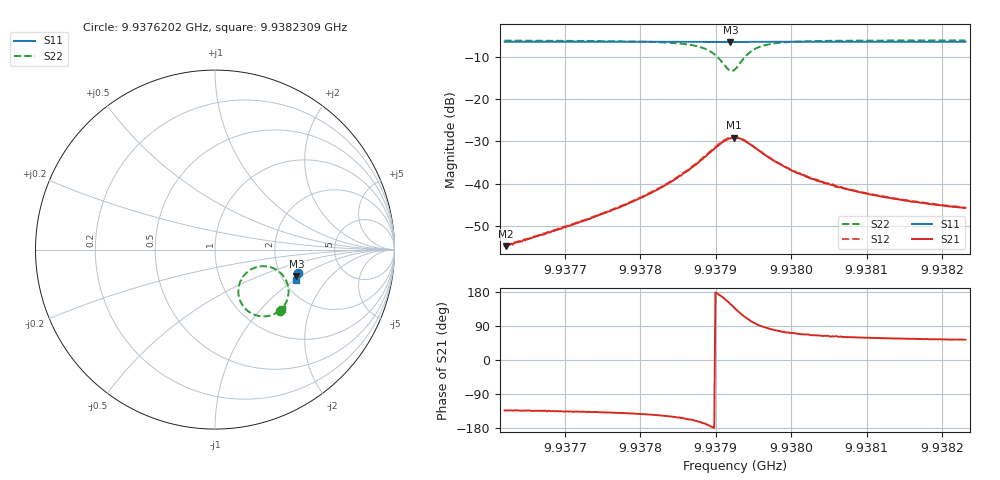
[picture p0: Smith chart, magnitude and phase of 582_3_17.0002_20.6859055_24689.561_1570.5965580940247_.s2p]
#  HZ  S  RI  R  50.00
! Rohde & Schwarz Vector Network Analyzer
! Rohde-Schwarz,ZNB20-2Port,1311601062101988,3.16
! Created: UTC 3/20/2024, 11:18:10 PM
! freq[Hz]  re:S11  im:S11  re:S21  im:S21  re:S12  im:S12  re:S22  im:S22
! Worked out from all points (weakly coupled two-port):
!   401 points, 9.9376202 GHz to 9.9382309 GHz, reference 50 ohm
!   highest |S21| = -29.10 dB at 9.9379241 GHz (marker M1); lowest = -54.8 dB at 9.9376218 GHz (marker M2)
!   lowest |S11| = -6.4 dB at 9.9379195 GHz (marker M3), VSWR 2.82, Z = 121 - j46 ohm
!   |S11| at or under -10 dB: nowhere
!   |S22| runs from -13.3 to -6.1 dB; largest |S21 - S12| = 0.0018
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9.93762024e9  0.4647 -0.1293  -0.00126 -0.00133  -0.00129 -0.00131  0.3603 -0.3398
9.93762177e9  0.4645 -0.1296  -0.00122 -0.00134  -0.00126 -0.00134  0.3601 -0.34
9.93772253e9  0.462 -0.1362  -0.00257 -0.00245  -0.00269 -0.00247  0.3429 -0.3516
9.93777291e9  0.4606 -0.1398  -0.00398 -0.00337  -0.00415 -0.00341  0.3278 -0.3595
9.93782482e9  0.4591 -0.1433  -0.00721 -0.00486  -0.00738 -0.00483  0.2978 -0.3692
9.9378523e9  0.458 -0.1453  -0.0109 -0.00593  -0.0111 -0.00562  0.2665 -0.3722
9.93788436e9  0.4561 -0.1475  -0.0198 -0.00456  -0.0204 -0.00418  0.1953 -0.3506
9.93789657e9  0.455 -0.148  -0.0252 -0.000976  -0.0258 -0.000288  0.1561 -0.3137
9.93790726e9  0.4542 -0.1479  -0.0297 0.00595  -0.0301 0.00703  0.1313 -0.2512
9.93791489e9  0.4537 -0.1475  -0.0303 0.0134  -0.0307 0.0149  0.1365 -0.1903
9.93791947e9  0.4534 -0.1472  -0.0291 0.0182  -0.0292 0.02  0.1545 -0.1531
9.93792405e9  0.4536 -0.1469  -0.0265 0.023  -0.0262 0.0244  0.1839 -0.1218
9.93792558e9  0.4538 -0.1469  -0.0251 0.0243  -0.025 0.0256  0.1951 -0.114
9.93793321e9  0.4543 -0.1467  -0.0182 0.0286  -0.0173 0.0296  0.2586 -0.0926
9.9379439e9  0.4552 -0.1471  -0.00833 0.0286  -0.00749 0.0293  0.3346 -0.1081
9.93795917e9  0.4559 -0.1482  1.39e-05 0.024  0.000487 0.0241  0.3896 -0.1595
9.93797291e9  0.4561 -0.1497  0.0028 0.0195  0.00338 0.0197  0.406 -0.1991
9.93799276e9  0.4558 -0.1516  0.00469 0.015  0.00474 0.015  0.4099 -0.2378
9.93802787e9  0.455 -0.1543  0.00473 0.0103  0.00484 0.0104  0.4033 -0.2753
9.93806146e9  0.454 -0.1568  0.00434 0.00799  0.00456 0.00797  0.3957 -0.2944
9.93813016e9  0.4522 -0.1613  0.00368 0.0057  0.00381 0.00567  0.3837 -0.3154
9.93823092e9  0.4496 -0.1681  0.00306 0.00415  0.00314 0.00413  0.3712 -0.3312
